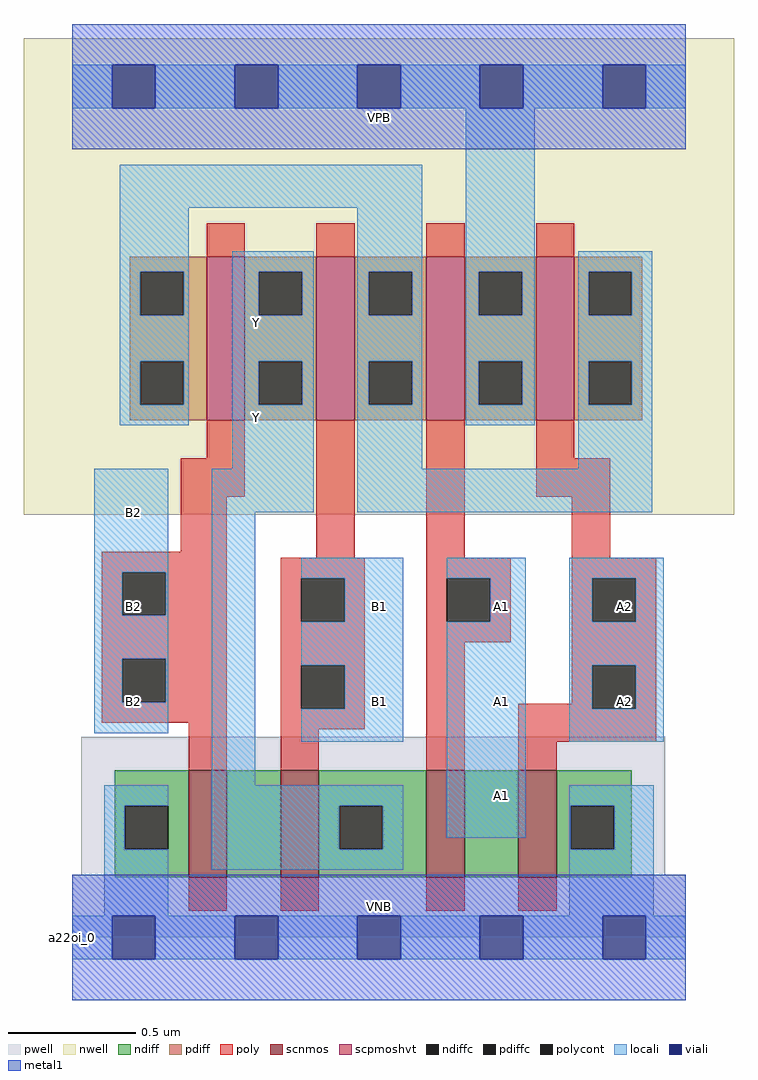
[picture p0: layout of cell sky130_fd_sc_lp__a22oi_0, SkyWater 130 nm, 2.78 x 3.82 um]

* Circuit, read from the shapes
.subckt sky130_fd_sc_lp__a22oi_0 A1 A2 B1 B2 VGND VNB VPB VPWR Y
XM1 n1 B2 VGND VNB sky130_fd_pr__nfet_01v8 w=0.42 l=0.15
XM2 Y B1 n1 VNB sky130_fd_pr__nfet_01v8 w=0.42 l=0.15
XM3 n2 A1 Y VNB sky130_fd_pr__nfet_01v8 w=0.42 l=0.15
XM4 VGND A2 n2 VNB sky130_fd_pr__nfet_01v8 w=0.42 l=0.15
XM5 Y B2 n3 VPB sky130_fd_pr__pfet_01v8_hvt w=0.64 l=0.15
XM6 n3 B1 Y VPB sky130_fd_pr__pfet_01v8_hvt w=0.64 l=0.15
XM7 VPWR A1 n3 VPB sky130_fd_pr__pfet_01v8_hvt w=0.64 l=0.15
XM8 n3 A2 VPWR VPB sky130_fd_pr__pfet_01v8_hvt w=0.64 l=0.15
.ends

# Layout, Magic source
magic
tech sky130A
magscale 1 2
<< nwell >>
rect -38 331 518 704
<< pwell >>
rect 7 49 464 157
rect 0 0 480 49
<< scnmos >>
rect 91 47 121 131
rect 163 47 193 131
rect 277 47 307 131
rect 349 47 379 131
<< scpmoshvt >>
rect 105 405 135 533
rect 191 405 221 533
rect 277 405 307 533
rect 363 405 393 533
<< ndiff >>
rect 33 103 91 131
rect 33 69 41 103
rect 75 69 91 103
rect 33 47 91 69
rect 121 47 163 131
rect 193 103 277 131
rect 193 69 209 103
rect 243 69 277 103
rect 193 47 277 69
rect 307 47 349 131
rect 379 103 438 131
rect 379 69 390 103
rect 424 69 438 103
rect 379 47 438 69
<< pdiff >>
rect 45 521 105 533
rect 45 487 53 521
rect 87 487 105 521
rect 45 451 105 487
rect 45 417 53 451
rect 87 417 105 451
rect 45 405 105 417
rect 135 521 191 533
rect 135 487 146 521
rect 180 487 191 521
rect 135 451 191 487
rect 135 417 146 451
rect 180 417 191 451
rect 135 405 191 417
rect 221 521 277 533
rect 221 487 232 521
rect 266 487 277 521
rect 221 451 277 487
rect 221 417 232 451
rect 266 417 277 451
rect 221 405 277 417
rect 307 521 363 533
rect 307 487 318 521
rect 352 487 363 521
rect 307 451 363 487
rect 307 417 318 451
rect 352 417 363 451
rect 307 405 363 417
rect 393 521 446 533
rect 393 487 404 521
rect 438 487 446 521
rect 393 451 446 487
rect 393 417 404 451
rect 438 417 446 451
rect 393 405 446 417
<< ndiffc >>
rect 41 69 75 103
rect 209 69 243 103
rect 390 69 424 103
<< pdiffc >>
rect 53 487 87 521
rect 53 417 87 451
rect 146 487 180 521
rect 146 417 180 451
rect 232 487 266 521
rect 232 417 266 451
rect 318 487 352 521
rect 318 417 352 451
rect 404 487 438 521
rect 404 417 438 451
<< poly >>
rect 105 533 135 559
rect 191 533 221 559
rect 277 533 307 559
rect 363 533 393 559
rect 105 375 135 405
rect 85 345 135 375
rect 85 302 121 345
rect 23 286 121 302
rect 191 297 221 405
rect 277 297 307 405
rect 363 375 393 405
rect 363 345 421 375
rect 391 297 421 345
rect 23 252 39 286
rect 73 252 121 286
rect 23 218 121 252
rect 23 184 39 218
rect 73 184 121 218
rect 23 168 121 184
rect 91 131 121 168
rect 163 281 229 297
rect 163 247 179 281
rect 213 247 229 281
rect 163 213 229 247
rect 163 179 179 213
rect 213 179 229 213
rect 163 163 229 179
rect 277 281 343 297
rect 277 247 293 281
rect 327 247 343 281
rect 277 231 343 247
rect 391 281 457 297
rect 391 247 407 281
rect 441 247 457 281
rect 163 131 193 163
rect 277 131 307 231
rect 391 213 457 247
rect 391 183 407 213
rect 349 179 407 183
rect 441 179 457 213
rect 349 153 457 179
rect 349 131 379 153
rect 91 21 121 47
rect 163 21 193 47
rect 277 21 307 47
rect 349 21 379 47
<< polycont >>
rect 39 252 73 286
rect 39 184 73 218
rect 179 247 213 281
rect 179 179 213 213
rect 293 247 327 281
rect 407 247 441 281
rect 407 179 441 213
<< locali >>
rect 0 649 31 683
rect 65 649 127 683
rect 161 649 223 683
rect 257 649 319 683
rect 353 649 415 683
rect 449 649 480 683
rect 37 571 274 605
rect 37 521 91 571
rect 37 487 53 521
rect 87 487 91 521
rect 37 451 91 487
rect 37 417 53 451
rect 87 417 91 451
rect 37 401 91 417
rect 125 521 189 537
rect 125 487 146 521
rect 180 487 189 521
rect 125 451 189 487
rect 125 417 146 451
rect 180 417 189 451
rect 125 367 189 417
rect 17 286 75 367
rect 17 252 39 286
rect 73 252 75 286
rect 17 218 75 252
rect 17 184 39 218
rect 73 184 75 218
rect 17 160 75 184
rect 109 333 189 367
rect 223 521 274 571
rect 223 487 232 521
rect 266 487 274 521
rect 223 451 274 487
rect 223 417 232 451
rect 266 417 274 451
rect 223 367 274 417
rect 308 521 362 649
rect 308 487 318 521
rect 352 487 362 521
rect 308 451 362 487
rect 308 417 318 451
rect 352 417 362 451
rect 308 401 362 417
rect 396 521 454 537
rect 396 487 404 521
rect 438 487 454 521
rect 396 451 454 487
rect 396 417 404 451
rect 438 417 454 451
rect 396 367 454 417
rect 223 333 454 367
rect 109 119 143 333
rect 179 281 259 297
rect 213 247 259 281
rect 179 213 259 247
rect 213 179 259 213
rect 179 153 259 179
rect 293 281 355 297
rect 327 247 355 281
rect 25 103 75 119
rect 25 69 41 103
rect 25 17 75 69
rect 109 103 259 119
rect 109 69 209 103
rect 243 69 259 103
rect 293 78 355 247
rect 389 281 463 297
rect 389 247 407 281
rect 441 247 463 281
rect 389 213 463 247
rect 389 179 407 213
rect 441 179 463 213
rect 389 153 463 179
rect 389 103 455 119
rect 109 53 259 69
rect 389 69 390 103
rect 424 69 455 103
rect 389 17 455 69
rect 0 -17 31 17
rect 65 -17 127 17
rect 161 -17 223 17
rect 257 -17 319 17
rect 353 -17 415 17
rect 449 -17 480 17
<< viali >>
rect 31 649 65 683
rect 127 649 161 683
rect 223 649 257 683
rect 319 649 353 683
rect 415 649 449 683
rect 31 -17 65 17
rect 127 -17 161 17
rect 223 -17 257 17
rect 319 -17 353 17
rect 415 -17 449 17
<< metal1 >>
rect 0 683 480 715
rect 0 649 31 683
rect 65 649 127 683
rect 161 649 223 683
rect 257 649 319 683
rect 353 649 415 683
rect 449 649 480 683
rect 0 617 480 649
rect 0 17 480 49
rect 0 -17 31 17
rect 65 -17 127 17
rect 161 -17 223 17
rect 257 -17 319 17
rect 353 -17 415 17
rect 449 -17 480 17
rect 0 -49 480 -17
<< labels >>
flabel pwell s 0 0 480 49 0 FreeSans 200 0 0 0 VNB
port 6 nsew ground bidirectional
flabel nwell s 0 617 480 666 0 FreeSans 200 0 0 0 VPB
port 7 nsew power bidirectional
rlabel comment s 0 0 0 0 4 a22oi_0
flabel metal1 s 0 617 480 666 0 FreeSans 340 0 0 0 VPWR
port 8 nsew power bidirectional
flabel metal1 s 0 0 480 49 0 FreeSans 340 0 0 0 VGND
port 5 nsew ground bidirectional
flabel locali s 319 94 353 128 0 FreeSans 340 0 0 0 A1
port 1 nsew signal input
flabel locali s 319 168 353 202 0 FreeSans 340 0 0 0 A1
port 1 nsew signal input
flabel locali s 319 242 353 276 0 FreeSans 340 0 0 0 A1
port 1 nsew signal input
flabel locali s 415 168 449 202 0 FreeSans 340 0 0 0 A2
port 2 nsew signal input
flabel locali s 415 242 449 276 0 FreeSans 340 0 0 0 A2
port 2 nsew signal input
flabel locali s 223 168 257 202 0 FreeSans 340 0 0 0 B1
port 3 nsew signal input
flabel locali s 223 242 257 276 0 FreeSans 340 0 0 0 B1
port 3 nsew signal input
flabel locali s 31 168 65 202 0 FreeSans 340 0 0 0 B2
port 4 nsew signal input
flabel locali s 31 242 65 276 0 FreeSans 340 0 0 0 B2
port 4 nsew signal input
flabel locali s 31 316 65 350 0 FreeSans 340 0 0 0 B2
port 4 nsew signal input
flabel locali s 127 390 161 424 0 FreeSans 340 0 0 0 Y
port 9 nsew signal output
flabel locali s 127 464 161 498 0 FreeSans 340 0 0 0 Y
port 9 nsew signal output
<< properties >>
string LEFsite unit
string LEFclass CORE
string FIXED_BBOX 0 0 480 666
string GDS_FILE $PDKPATH/libs.ref/sky130_fd_sc_lp/gds/sky130_fd_sc_lp.gds
string LEFsymmetry X Y R90
string GDS_END 423306
string GDS_START 417332
<< end >>
